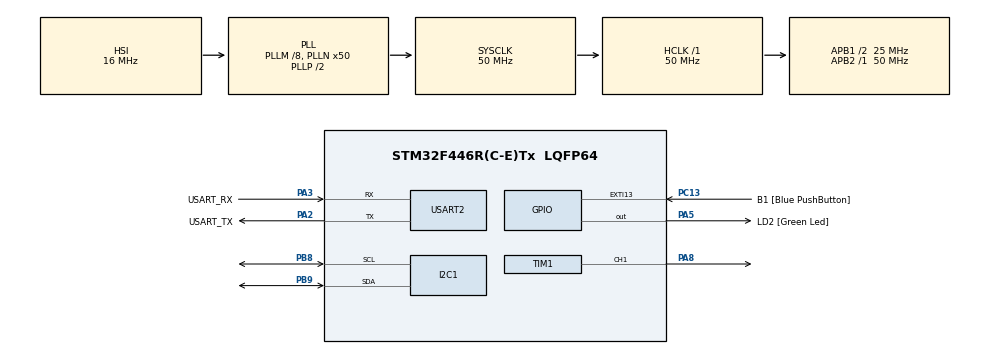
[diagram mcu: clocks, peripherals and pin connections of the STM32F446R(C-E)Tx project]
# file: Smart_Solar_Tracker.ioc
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Mcu.Family=STM32F4
Mcu.Name=STM32F446R(C-E)Tx
Mcu.Package=LQFP64
NVIC.PriorityGroup=NVIC_PRIORITYGROUP_0
NVIC.USART2_IRQn=true\:0\:0\:false\:false\:true\:true\:true\:true
PA13.GPIO_Label=TMS
PA13.Mode=Serial_Wire
PA13.Signal=SYS_JTMS-SWDIO
PA14.GPIO_Label=TCK
PA14.Mode=Serial_Wire
PA14.Signal=SYS_JTCK-SWCLK
PA2.GPIO_Label=USART_TX
PA2.Mode=Asynchronous
PA2.Signal=USART2_TX
PA3.GPIO_Label=USART_RX
PA3.Mode=Asynchronous
PA3.Signal=USART2_RX
PA5.GPIO_Label=LD2 [Green Led]
PA5.Signal=GPIO_Output
PA8.Signal=S_TIM1_CH1
PB3.GPIO_Label=SWO
PB3.Signal=SYS_JTDO-SWO
PB8.Mode=I2C
PB8.Signal=I2C1_SCL
PB9.Mode=I2C
PB9.Signal=I2C1_SDA
PC13.GPIO_Label=B1 [Blue PushButton]
PC13.GPIO_ModeDefaultEXTI=GPIO_MODE_IT_FALLING
PC13.Signal=GPXTI13
PC14-OSC32_IN.Mode=LSE-External-Oscillator
PC14-OSC32_IN.Signal=RCC_OSC32_IN
PC15-OSC32_OUT.Mode=LSE-External-Oscillator
PC15-OSC32_OUT.Signal=RCC_OSC32_OUT
PH0-OSC_IN.Mode=HSE-External-Oscillator
PH0-OSC_IN.Signal=RCC_OSC_IN
PH1-OSC_OUT.Mode=HSE-External-Oscillator
PH1-OSC_OUT.Signal=RCC_OSC_OUT
ProjectManager.HeapSize=0x200
ProjectManager.StackSize=0x400
ProjectManager.TargetToolchain=STM32CubeIDE
RCC.48MHZClocksFreq_Value=84000000
RCC.AHBFreq_Value=50000000
RCC.APB1CLKDivider=RCC_HCLK_DIV2
RCC.APB1Freq_Value=25000000
RCC.APB1TimFreq_Value=50000000
RCC.APB2Freq_Value=50000000
RCC.APB2TimFreq_Value=50000000
RCC.CortexFreq_Value=50000000
RCC.FLatency-AdvancedSettings=FLASH_LATENCY_1
RCC.HCLKFreq_Value=50000000
RCC.HSE_VALUE=8000000
RCC.HSI_VALUE=16000000
RCC.PLLM=8
RCC.PLLN=50
RCC.SYSCLKFreq_VALUE=50000000
RCC.SYSCLKSource=RCC_SYSCLKSOURCE_PLLCLK
RCC.USBFreq_Value=50000000
RCC.VCOOutputFreq_Value=100000000
SH.S_TIM1_CH1.0=TIM1_CH1,PWM Generation1 CH1
TIM1.Channel-PWM\ Generation1\ CH1=TIM_CHANNEL_1
TIM1.Period=19999
TIM1.Prescaler=49
USART2.VirtualMode=VM_ASYNC
VP_TIM1_VS_ClockSourceINT.Mode=Internal
board=NUCLEO-F446RE

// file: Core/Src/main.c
/* USER CODE BEGIN Header */
/**
 ******************************************************************************
 * @file           : main.c
 * @brief          : Main program body
 ******************************************************************************
 */
/* USER CODE END Header */
#include "main.h"
#include "i2c.h"
#include "tim.h"
#include "usart.h"
#include "gpio.h"

/* USER CODE BEGIN Includes */
#include <stdio.h>
#include <string.h>
#include <stdlib.h>
/* USER CODE END Includes */

/* USER CODE BEGIN PD */
#define RX_BUFFER_SIZE 64
/* USER CODE END PD */

/* USER CODE BEGIN PV */
uint8_t bh1750_cmd = 0x10;
uint8_t bh1750_data[2];
uint16_t raw;
float lux;
char msg[64];

/* UART 실시간 AI 데이터 수신용 변수들 */
uint8_t rx_data;                 // 1바이트 수신용 임시 변수
char rx_buffer[RX_BUFFER_SIZE];  // 수신 패킷을 모아둘 버퍼
uint8_t rx_index = 0;            // 버퍼 인덱스
uint8_t rx_flag = 0;             // 문장 수신 완료 플래그 (1이 되면 파싱 시작)
uint16_t target_angle = 90;      // 초기 각도는 중앙값(90도)으로 대기
/* USER CODE END PV */

void SystemClock_Config(void);
/* USER CODE BEGIN PFP */
void Servo_SetPosition(uint16_t pwm);
void Parse_AI_Command(char *packet);
/* USER CODE END PFP */

/* USER CODE BEGIN 0 */
/* UART 인터럽트 콜백 함수 정의
 파이썬 서버가 시리얼로 데이터를 보내면 하드웨어 인터럽트에 의해 이 함수가 자동 호출됩니다. */
void HAL_UART_RxCpltCallback(UART_HandleTypeDef *huart) {
	if (huart->Instance == USART2)  // PC와 연결된 UART2 포트인 경우(포트 확인 필요)
	{
		if (rx_data == '\n' || rx_data == '\r') // 줄바꿈 문자가 들어왔다면 (한 문장 완료)
				{
			if (rx_index > 0) {
				rx_buffer[rx_index] = '\0'; // 문자열의 끝을 지정
				rx_flag = 1;                // 메인 루프에게 "파싱해라"라고 플래그 알림
			}
		} else // 일반 글자가 들어오는 중이라면 버퍼에 차곡차곡 축적
		{
			if (rx_index < RX_BUFFER_SIZE - 1) {
				rx_buffer[rx_index++] = rx_data;
			} else // 버퍼 오버플로우 방지 리셋
			{
				rx_index = 0;
			}
		}

		// 다음 1바이트 수신을 위해 인터럽트를 재가동합니다.
		HAL_UART_Receive_IT(&huart2, &rx_data, 1);
	}
}

/* 수신된 텍스트 패킷 해석 함수 */
void Parse_AI_Command(char *packet) {
	int parsed_angle = 0;
	HAL_GPIO_TogglePin(GPIOA, GPIO_PIN_5);
	// 만약 들어온 문자열이 "SERVO:"로 시작한다면 뒤의 정수값을 %d로 읽어옵니다.
	if (sscanf(packet, "SERVO:%d", &parsed_angle) == 1) {

		// 안전장치: 모터 가동 범위 규격 제한 (0도 ~ 180도)
		if (parsed_angle >= 0 && parsed_angle <= 180) {
			target_angle = (uint16_t) parsed_angle;

			// 테라텀 확인용 피드백 출력
			sprintf(msg, ">> [STM32 OK] AI 각도 적용 완료: %d도\r\n", target_angle);
			HAL_UART_Transmit(&huart2, (uint8_t*) msg, strlen(msg),
			HAL_MAX_DELAY);
		}
	}
}
/* USER CODE END 0 */

int main(void)
{

  /* MCU Configuration--------------------------------------------------------*/

  /* Reset of all peripherals, Initializes the Flash interface and the Systick. */
  HAL_Init();

  /* Configure the system clock */
  SystemClock_Config();

  /* Initialize all configured peripherals */
  MX_GPIO_Init();
  MX_I2C1_Init();
  MX_TIM1_Init();
  MX_USART2_UART_Init();
  /* USER CODE BEGIN 2 */
	HAL_TIM_PWM_Start(&htim1, TIM_CHANNEL_1);
	HAL_I2C_Master_Transmit(&hi2c1, 0x23 << 1, &bh1750_cmd, 1,
	HAL_MAX_DELAY);
	HAL_StatusTypeDef status;

	status = HAL_I2C_IsDeviceReady(&hi2c1, 0x23 << 1, 3, 100);

	sprintf(msg, "ADDR23 status=%d\r\n", status);

	HAL_UART_Transmit(&huart2, (uint8_t*) msg, strlen(msg),
	HAL_MAX_DELAY);
	status = HAL_I2C_IsDeviceReady(&hi2c1, 0x5C << 1, 3, 100);

	sprintf(msg, "ADDR5C status=%d\r\n", status);

	HAL_UART_Transmit(&huart2, (uint8_t*) msg, strlen(msg),
	HAL_MAX_DELAY);

	/* 최초 1회 UART 인터럽트 수신 엔진 시동 */
	HAL_UART_Receive_IT(&huart2, &rx_data, 1);
  /* USER CODE END 2 */

  /* Infinite loop */
	while (1) {

    /* USER CODE BEGIN 3 */
		// 1. 조도 센서 데이터 수집
		HAL_I2C_Master_Receive(&hi2c1, 0x23 << 1, bh1750_data, 2,
				HAL_MAX_DELAY);
		raw = (bh1750_data[0] << 8) | bh1750_data[1];
		lux = raw / 1.2f;

		// 2. 파이썬 패킷 수신 완료 플래그 처리
		if (rx_flag == 1) {
			Parse_AI_Command(rx_buffer);
			rx_index = 0;
			rx_flag = 0;
		}

		// 🚨 [통신 락 방어 코드 추가]
		// 만약 시리얼 통신 도중 노이즈나 타이밍 충돌로 오버런 에러가 나면
		// 인터럽트가 죽어버리므로, 에러 레지스터를 강제로 초기화하고 수신 엔진을 재가동합니다.
		if (huart2.RxState == HAL_UART_STATE_READY) {
			HAL_UART_Receive_IT(&huart2, &rx_data, 1);
		}

		// 3. 현재 target_angle 기반 모터 위치 유지 및 구동
		uint16_t target_pwm = 500
				+ (uint16_t) ((float) target_angle * (2000.0f / 180.0f));
		Servo_SetPosition(target_pwm);

		// 4. 파이썬 수집용 데이터 출력 포맷
		sprintf(msg, "Lux: %.2f , PWM: %d\r\n", lux, target_pwm);
		HAL_UART_Transmit(&huart2, (uint8_t*) msg, strlen(msg), HAL_MAX_DELAY);

		// 통신 안정성을 위해 대기시간 유연하게 조정 (500ms)
		HAL_Delay(500);
	}
  /* USER CODE END 3 */
}

void SystemClock_Config(void)
{
  RCC_OscInitTypeDef RCC_OscInitStruct = {0};
  RCC_ClkInitTypeDef RCC_ClkInitStruct = {0};

  /** Configure the main internal regulator output voltage
  */
  __HAL_RCC_PWR_CLK_ENABLE();
  __HAL_PWR_VOLTAGESCALING_CONFIG(PWR_REGULATOR_VOLTAGE_SCALE3);

  /** Initializes the RCC Oscillators according to the specified parameters
  * in the RCC_OscInitTypeDef structure.
  */
  RCC_OscInitStruct.OscillatorType = RCC_OSCILLATORTYPE_HSI;
  RCC_OscInitStruct.HSIState = RCC_HSI_ON;
  RCC_OscInitStruct.HSICalibrationValue = RCC_HSICALIBRATION_DEFAULT;
  RCC_OscInitStruct.PLL.PLLState = RCC_PLL_ON;
  RCC_OscInitStruct.PLL.PLLSource = RCC_PLLSOURCE_HSI;
  RCC_OscInitStruct.PLL.PLLM = 8;
  RCC_OscInitStruct.PLL.PLLN = 50;
  RCC_OscInitStruct.PLL.PLLP = RCC_PLLP_DIV2;
  RCC_OscInitStruct.PLL.PLLQ = 2;
  RCC_OscInitStruct.PLL.PLLR = 2;
  if (HAL_RCC_OscConfig(&RCC_OscInitStruct) != HAL_OK)
  {
    Error_Handler();
  }

  /** Initializes the CPU, AHB and APB buses clocks
  */
  RCC_ClkInitStruct.ClockType = RCC_CLOCKTYPE_HCLK|RCC_CLOCKTYPE_SYSCLK
                              |RCC_CLOCKTYPE_PCLK1|RCC_CLOCKTYPE_PCLK2;
  RCC_ClkInitStruct.SYSCLKSource = RCC_SYSCLKSOURCE_PLLCLK;
  RCC_ClkInitStruct.AHBCLKDivider = RCC_SYSCLK_DIV1;
  RCC_ClkInitStruct.APB1CLKDivider = RCC_HCLK_DIV2;
  RCC_ClkInitStruct.APB2CLKDivider = RCC_HCLK_DIV1;

  if (HAL_RCC_ClockConfig(&RCC_ClkInitStruct, FLASH_LATENCY_1) != HAL_OK)
  {
    Error_Handler();
  }
}

/* USER CODE BEGIN 4 */
void Servo_SetPosition(uint16_t pwm) {
	__HAL_TIM_SET_COMPARE(&htim1, TIM_CHANNEL_1, pwm);
}
/* USER CODE END 4 */

void Error_Handler(void)
{
	__disable_irq();
	while (1) {
	}
}
